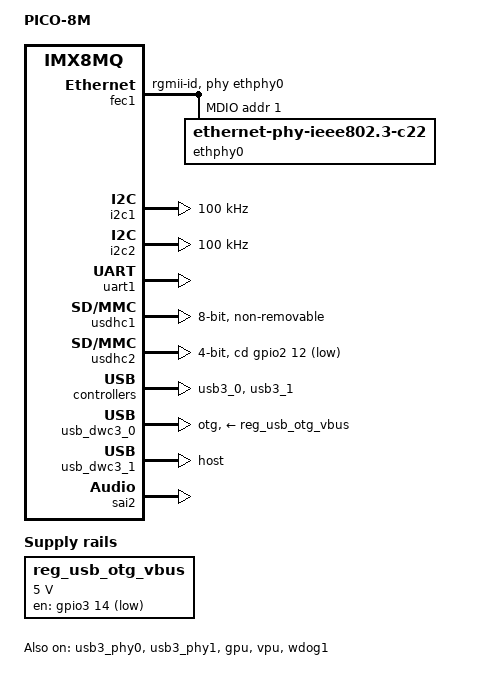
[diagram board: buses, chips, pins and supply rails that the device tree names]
/*
 * Copyright 2018 Technexion Ltd.
 * Copyright 2017 NXP
 *
 * Author: Richard Hu <richard.hu@technexion.com>
 *
 * This program is free software; you can redistribute it and/or
 * modify it under the terms of the GNU General Public License
 * as published by the Free Software Foundation; either version 2
 * of the License, or (at your option) any later version.
 *
 * This program is distributed in the hope that it will be useful,
 * but WITHOUT ANY WARRANTY; without even the implied warranty of
 * MERCHANTABILITY or FITNESS FOR A PARTICULAR PURPOSE.  See the
 * GNU General Public License for more details.
 */

/dts-v1/;

/* First 128KB is for PSCI ATF. */
/memreserve/ 0x40000000 0x00020000;

#include "fsl-imx8mq.dtsi"

/ {
	model = "PICO-8M";
	compatible = "pico,imx8mq-pico", "fsl,imx8mq";

	chosen {
		bootargs = "console=ttymxc0,115200 earlycon=ec_imx6q,0x30860000,115200";
		stdout-path = &uart1;
	};

	regulators {
		compatible = "simple-bus";
		#address-cells = <1>;
		#size-cells = <0>;

		reg_usb_otg_vbus: usb_otg_vbus {
			pinctrl-names = "default";
			pinctrl-0 = <&pinctrl_otg_vbus>;
			compatible = "regulator-fixed";
			regulator-name = "usb_otg_vbus";
			regulator-min-microvolt = <5000000>;
			regulator-max-microvolt = <5000000>;
			gpio = <&gpio3 14 GPIO_ACTIVE_LOW>;
		};
	};
};

&iomuxc {
	pinctrl-names = "default";

	pico-8m {
		pinctrl_otg_vbus: otgvbusgrp {
			fsl,pins = <
				MX8MQ_IOMUXC_NAND_DQS_GPIO3_IO14		0x19   /* USB OTG VBUS Enable */
			>;
		};

		pinctrl_fec1: fec1grp {
			fsl,pins = <
				MX8MQ_IOMUXC_ENET_MDC_ENET1_MDC		0x3
				MX8MQ_IOMUXC_ENET_MDIO_ENET1_MDIO	0x23
				MX8MQ_IOMUXC_ENET_TD3_ENET1_RGMII_TD3	0x1f
				MX8MQ_IOMUXC_ENET_TD2_ENET1_RGMII_TD2	0x1f
				MX8MQ_IOMUXC_ENET_TD1_ENET1_RGMII_TD1	0x1f
				MX8MQ_IOMUXC_ENET_TD0_ENET1_RGMII_TD0	0x1f
				MX8MQ_IOMUXC_ENET_RD3_ENET1_RGMII_RD3	0x91
				MX8MQ_IOMUXC_ENET_RD2_ENET1_RGMII_RD2	0x91
				MX8MQ_IOMUXC_ENET_RD1_ENET1_RGMII_RD1	0x91
				MX8MQ_IOMUXC_ENET_RD0_ENET1_RGMII_RD0	0x91
				MX8MQ_IOMUXC_ENET_TXC_ENET1_RGMII_TXC	0x1f
				MX8MQ_IOMUXC_ENET_RXC_ENET1_RGMII_RXC	0x91
				MX8MQ_IOMUXC_ENET_RX_CTL_ENET1_RGMII_RX_CTL	0x91
				MX8MQ_IOMUXC_ENET_TX_CTL_ENET1_RGMII_TX_CTL	0x1f
				MX8MQ_IOMUXC_GPIO1_IO09_GPIO1_IO9	0x19
			>;
		};

		pinctrl_i2c1: i2c1grp {
			fsl,pins = <
				MX8MQ_IOMUXC_I2C1_SCL_I2C1_SCL			0x4000007f
				MX8MQ_IOMUXC_I2C1_SDA_I2C1_SDA			0x4000007f
			>;
		};

		pinctrl_i2c2: i2c2grp {
			fsl,pins = <
				MX8MQ_IOMUXC_I2C2_SCL_I2C2_SCL			0x4000007f
				MX8MQ_IOMUXC_I2C2_SDA_I2C2_SDA			0x4000007f
			>;
		};

		pinctrl_uart1: uart1grp {
			fsl,pins = <
				MX8MQ_IOMUXC_UART1_RXD_UART1_DCE_RX		0x49
				MX8MQ_IOMUXC_UART1_TXD_UART1_DCE_TX		0x49
			>;
		};

		pinctrl_usdhc1: usdhc1grp {
			fsl,pins = <
				MX8MQ_IOMUXC_SD1_CLK_USDHC1_CLK			0x83
				MX8MQ_IOMUXC_SD1_CMD_USDHC1_CMD			0xc3
				MX8MQ_IOMUXC_SD1_DATA0_USDHC1_DATA0		0xc3
				MX8MQ_IOMUXC_SD1_DATA1_USDHC1_DATA1		0xc3
				MX8MQ_IOMUXC_SD1_DATA2_USDHC1_DATA2		0xc3
				MX8MQ_IOMUXC_SD1_DATA3_USDHC1_DATA3		0xc3
				MX8MQ_IOMUXC_SD1_DATA4_USDHC1_DATA4		0xc3
				MX8MQ_IOMUXC_SD1_DATA5_USDHC1_DATA5		0xc3
				MX8MQ_IOMUXC_SD1_DATA6_USDHC1_DATA6		0xc3
				MX8MQ_IOMUXC_SD1_DATA7_USDHC1_DATA7		0xc3
				MX8MQ_IOMUXC_SD1_STROBE_USDHC1_STROBE 		0x83
			>;
		};

		pinctrl_usdhc1_100mhz: usdhc1grp100mhz {
			fsl,pins = <
				MX8MQ_IOMUXC_SD1_CLK_USDHC1_CLK			0x85
				MX8MQ_IOMUXC_SD1_CMD_USDHC1_CMD			0xc5
				MX8MQ_IOMUXC_SD1_DATA0_USDHC1_DATA0		0xc5
				MX8MQ_IOMUXC_SD1_DATA1_USDHC1_DATA1		0xc5
				MX8MQ_IOMUXC_SD1_DATA2_USDHC1_DATA2		0xc5
				MX8MQ_IOMUXC_SD1_DATA3_USDHC1_DATA3		0xc5
				MX8MQ_IOMUXC_SD1_DATA4_USDHC1_DATA4		0xc5
				MX8MQ_IOMUXC_SD1_DATA5_USDHC1_DATA5		0xc5
				MX8MQ_IOMUXC_SD1_DATA6_USDHC1_DATA6		0xc5
				MX8MQ_IOMUXC_SD1_DATA7_USDHC1_DATA7		0xc5
				MX8MQ_IOMUXC_SD1_STROBE_USDHC1_STROBE 		0x85
			>;
		};

		pinctrl_usdhc1_200mhz: usdhc1grp200mhz {
			fsl,pins = <
				MX8MQ_IOMUXC_SD1_CLK_USDHC1_CLK			0x87
				MX8MQ_IOMUXC_SD1_CMD_USDHC1_CMD			0xc7
				MX8MQ_IOMUXC_SD1_DATA0_USDHC1_DATA0		0xc7
				MX8MQ_IOMUXC_SD1_DATA1_USDHC1_DATA1		0xc7
				MX8MQ_IOMUXC_SD1_DATA2_USDHC1_DATA2		0xc7
				MX8MQ_IOMUXC_SD1_DATA3_USDHC1_DATA3		0xc7
				MX8MQ_IOMUXC_SD1_DATA4_USDHC1_DATA4		0xc7
				MX8MQ_IOMUXC_SD1_DATA5_USDHC1_DATA5		0xc7
				MX8MQ_IOMUXC_SD1_DATA6_USDHC1_DATA6		0xc7
				MX8MQ_IOMUXC_SD1_DATA7_USDHC1_DATA7		0xc7
				MX8MQ_IOMUXC_SD1_STROBE_USDHC1_STROBE 		0x87
			>;
		};

		pinctrl_usdhc2_gpio: usdhc2grpgpio {
			fsl,pins = <
				MX8MQ_IOMUXC_SD2_CD_B_GPIO2_IO12	0x41
			>;
		};

		pinctrl_usdhc2: usdhc2grp {
			fsl,pins = <
				MX8MQ_IOMUXC_SD2_CLK_USDHC2_CLK			0x83
				MX8MQ_IOMUXC_SD2_CMD_USDHC2_CMD			0xc3
				MX8MQ_IOMUXC_SD2_DATA0_USDHC2_DATA0		0xc3
				MX8MQ_IOMUXC_SD2_DATA1_USDHC2_DATA1		0xc3
				MX8MQ_IOMUXC_SD2_DATA2_USDHC2_DATA2		0xc3
				MX8MQ_IOMUXC_SD2_DATA3_USDHC2_DATA3		0xc3
				MX8MQ_IOMUXC_GPIO1_IO04_USDHC2_VSELECT		0xc1
			>;
		};

		pinctrl_usdhc2_100mhz: usdhc2grp100mhz {
			fsl,pins = <
				MX8MQ_IOMUXC_SD2_CLK_USDHC2_CLK			0x85
				MX8MQ_IOMUXC_SD2_CMD_USDHC2_CMD			0xc5
				MX8MQ_IOMUXC_SD2_DATA0_USDHC2_DATA0		0xc5
				MX8MQ_IOMUXC_SD2_DATA1_USDHC2_DATA1		0xc5
				MX8MQ_IOMUXC_SD2_DATA2_USDHC2_DATA2		0xc5
				MX8MQ_IOMUXC_SD2_DATA3_USDHC2_DATA3		0xc5
				MX8MQ_IOMUXC_GPIO1_IO04_USDHC2_VSELECT		0xc1
			>;
		};

		pinctrl_usdhc2_200mhz: usdhc2grp200mhz {
			fsl,pins = <
				MX8MQ_IOMUXC_SD2_CLK_USDHC2_CLK			0x87
				MX8MQ_IOMUXC_SD2_CMD_USDHC2_CMD			0xc7
				MX8MQ_IOMUXC_SD2_DATA0_USDHC2_DATA0		0xc7
				MX8MQ_IOMUXC_SD2_DATA1_USDHC2_DATA1		0xc7
				MX8MQ_IOMUXC_SD2_DATA2_USDHC2_DATA2		0xc7
				MX8MQ_IOMUXC_SD2_DATA3_USDHC2_DATA3		0xc7
				MX8MQ_IOMUXC_GPIO1_IO04_USDHC2_VSELECT		0xc1
			>;
		};

		pinctrl_sai2: sai2grp {
			fsl,pins = <
				MX8MQ_IOMUXC_SAI2_TXFS_SAI2_TX_SYNC	0xd6
				MX8MQ_IOMUXC_SAI2_TXC_SAI2_TX_BCLK	0xd6
				MX8MQ_IOMUXC_SAI2_MCLK_SAI2_MCLK	0xd6
				MX8MQ_IOMUXC_SAI2_TXD0_SAI2_TX_DATA0	0xd6
			>;
		};

		pinctrl_wdog: wdoggrp {
			fsl,pins = <
				MX8MQ_IOMUXC_GPIO1_IO02_WDOG1_WDOG_B 0xc6
			>;
		};
	};
};

&fec1 {
	pinctrl-names = "default";
	pinctrl-0 = <&pinctrl_fec1>;
	phy-mode = "rgmii-id";
	phy-handle = <&ethphy0>;
	fsl,magic-packet;
	status = "okay";

	mdio {
		#address-cells = <1>;
		#size-cells = <0>;

		ethphy0: ethernet-phy@1 {
			compatible = "ethernet-phy-ieee802.3-c22";
			reg = <1>;
			at803x,led-act-blind-workaround;
			at803x,eee-disabled;
		};
	};
};

&i2c1 {
	clock-frequency = <100000>;
	pinctrl-names = "default";
	pinctrl-0 = <&pinctrl_i2c1>;
	status = "okay";
};

&i2c2 {
	clock-frequency = <100000>;
	pinctrl-names = "default";
	pinctrl-0 = <&pinctrl_i2c2>;
	status = "okay";
};

&uart1 { /* console */
	pinctrl-names = "default";
	pinctrl-0 = <&pinctrl_uart1>;
	assigned-clocks = <&clk IMX8MQ_CLK_UART1_SRC>;
	assigned-clock-parents = <&clk IMX8MQ_CLK_25M>;
	status = "okay";
};


&usdhc1 {
	pinctrl-names = "default", "state_100mhz", "state_200mhz";
	pinctrl-0 = <&pinctrl_usdhc1>;
	pinctrl-1 = <&pinctrl_usdhc1_100mhz>;
	pinctrl-2 = <&pinctrl_usdhc1_200mhz>;
	bus-width = <8>;
	non-removable;
	status = "okay";
};

&usdhc2 {
	pinctrl-names = "default", "state_100mhz", "state_200mhz";
	pinctrl-0 = <&pinctrl_usdhc2>, <&pinctrl_usdhc2_gpio>;
	pinctrl-1 = <&pinctrl_usdhc2_100mhz>, <&pinctrl_usdhc2_gpio>;
	pinctrl-2 = <&pinctrl_usdhc2_200mhz>, <&pinctrl_usdhc2_gpio>;
	bus-width = <4>;
	cd-gpios = <&gpio2 12 GPIO_ACTIVE_LOW>;
	status = "okay";
};

&usb3_phy0 {
	status = "okay";
};

&usb3_0 {
	status = "okay";
};

&usb_dwc3_0 {
	vbus-supply = <&reg_usb_otg_vbus>;
	dr_mode = "otg";
	status = "okay";
};

&usb3_phy1 {
	status = "okay";
};

&usb3_1 {
	status = "okay";
};

&usb_dwc3_1 {
	status = "okay";
	dr_mode = "host";
};

&sai2 {
	pinctrl-names = "default";
	pinctrl-0 = <&pinctrl_sai2>;
	assigned-clocks = <&clk IMX8MQ_CLK_SAI2_SRC>,
			<&clk IMX8MQ_CLK_SAI2_DIV>;
	assigned-clock-parents = <&clk IMX8MQ_AUDIO_PLL1_OUT>;
	assigned-clock-rates = <0>, <24576000>;
	status = "okay";
};

&gpu {
	status = "okay";
};

&vpu {
	status = "okay";
};

&wdog1 {
	pinctrl-names = "default";
	pinctrl-0 = <&pinctrl_wdog>;
	fsl,ext-reset-output;
	status = "okay";
};
